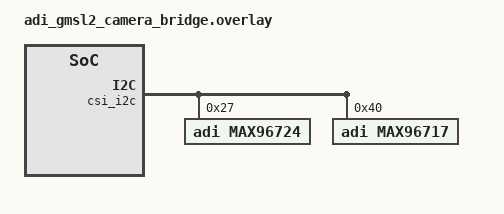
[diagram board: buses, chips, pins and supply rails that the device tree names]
/*
 * Copyright (c) 2026 Charles Dias
 *
 * SPDX-License-Identifier: Apache-2.0
 *
 * ADI GMSL2 Camera Bridge: MAX96724 (deserializer) + 1x MAX96717 (serializer).
 *
 * This shield is camera-agnostic. Combine with a camera sensor shield and a
 * sample overlay that wires the sensor to the MAX96717 serializer input.
 *
 */

#include <zephyr/dt-bindings/gpio/raspberrypi-csi-connector.h>
#include <zephyr/dt-bindings/video/video-interfaces.h>

/* Redirect CSI host input from camera to MAX96724 deserializer output */
&csi_ep_in {
	remote-endpoint-label = "max96724_csi_out";
	bus-type = <VIDEO_BUS_TYPE_CSI2_DPHY>;
	data-lanes = <1 2>;
};

&csi_i2c {
	max96724: max96724@27 {
		compatible = "adi,max96724";
		reg = <0x27>;

		ports {
			#address-cells = <1>;
			#size-cells = <0>;

			/* port@0–@3: GMSL link A–D inputs */
			port@0 {
				reg = <0>;

				max96724_gmsl_in: endpoint {
					remote-endpoint-label = "max96717_gmsl_out";
				};
			};

			/* port@4–@7: CSI-2 PHY 0–3 outputs (reg = phy_index + 4) */
			port@6 {
				reg = <6>;

				max96724_csi_out: endpoint {
					remote-endpoint-label = "csi_ep_in";
					bus-type = <VIDEO_BUS_TYPE_CSI2_DPHY>;
					data-lanes = <1 2>;
				};
			};
		};
	};

	max96717: max96717@40 {
		compatible = "adi,max96717";
		reg = <0x40>;

		ports {
			#address-cells = <1>;
			#size-cells = <0>;

			port@1 {
				reg = <1>;

				max96717_gmsl_out: endpoint {
					remote-endpoint-label = "max96724_gmsl_in";
				};
			};
		};
	};
};
